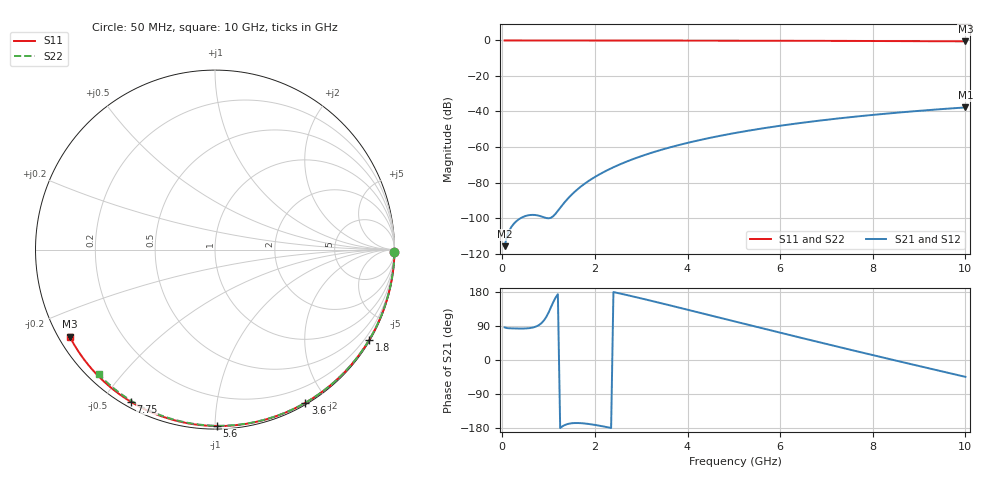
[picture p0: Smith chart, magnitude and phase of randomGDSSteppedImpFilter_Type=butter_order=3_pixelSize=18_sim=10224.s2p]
! freq	dB(S11)	phase(S11)	dB(S12)	phase(S12)
!  dB(S21)	phase(S21)	dB(S22)	phase(S22)
!S-par simulation data
#  GHz  S  DB  R 50
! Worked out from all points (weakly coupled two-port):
!   200 points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, 50 MHz to 10 GHz, reference 50 ohm
!   highest |S21| = -37.71 dB at 10 GHz (marker M1); lowest = -115.9 dB at 50 MHz (marker M2)
!   lowest |S11| = -0.5 dB at 10 GHz (marker M3), VSWR 34.44, Z = 1.56 - j13.8 ohm
!   |S11| at or under -10 dB: nowhere
!   |S22| runs from -0.4 to 0.0 dB; largest |S21 - S12| = 0
!   S11 on the Smith chart (normalised r, x): 50 MHz: open; 1.8 GHz: 0.03, -3.67; 3.6 GHz: 0.02, -1.75; 5.6 GHz: 0.02, -1.01; 7.75 GHz: 0.02, -0.59; 10 GHz: 0.03, -0.28
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0.05  -0.00 -0.9  -115.85 86.0  -115.85 86.0  -0.00 -0.8
0.45  -0.01 -7.7  -99.36 83.0  -99.36 83.0  -0.01 -6.9
0.9  -0.02 -15.4  -99.62 104.5  -99.62 104.5  -0.02 -13.8
1.3  -0.03 -22.1  -92.59 -174.8  -92.59 -174.8  -0.02 -19.8
1.75  -0.04 -29.6  -81.23 -167.2  -81.23 -167.2  -0.03 -26.5
1.8  -0.04 -30.5  -80.28 -167.8  -80.28 -167.8  -0.03 -27.3
1.85  -0.04 -31.3  -79.38 -168.6  -79.38 -168.6  -0.04 -28.0
2  -0.04 -33.8  -76.88 -171.3  -76.88 -171.3  -0.04 -30.2
2.15  -0.05 -36.2  -74.66 -174.6  -74.66 -174.6  -0.04 -32.4
2.5  -0.05 -41.9  -70.23 176.6  -70.23 176.6  -0.05 -37.6
2.9  -0.06 -48.4  -66.09 165.4  -66.09 165.4  -0.06 -43.4
3.4  -0.07 -56.3  -61.84 150.8  -61.84 150.8  -0.07 -50.5
3.6  -0.08 -59.4  -60.36 144.8  -60.36 144.8  -0.07 -53.3
4.3  -0.10 -70.2  -55.88 123.6  -55.88 123.6  -0.09 -63.0
5.05  -0.13 -81.3  -52.00 100.8  -52.00 100.8  -0.11 -73.0
5.6  -0.15 -89.3  -49.60 84.2  -49.60 84.2  -0.13 -80.2
6.15  -0.17 -97.1  -47.49 67.6  -47.49 67.6  -0.15 -87.2
6.7  -0.20 -104.7  -45.61 51.2  -45.61 51.2  -0.18 -94.1
7.75  -0.28 -119.0  -42.56 20.2  -42.56 20.2  -0.24 -106.8
8.35  -0.33 -127.0  -41.08 2.8  -41.08 2.8  -0.29 -113.9
9.2  -0.41 -138.4  -39.22 -21.7  -39.22 -21.7  -0.36 -123.8
10  -0.50 -149.1  -37.71 -44.5  -37.71 -44.5  -0.45 -132.9
